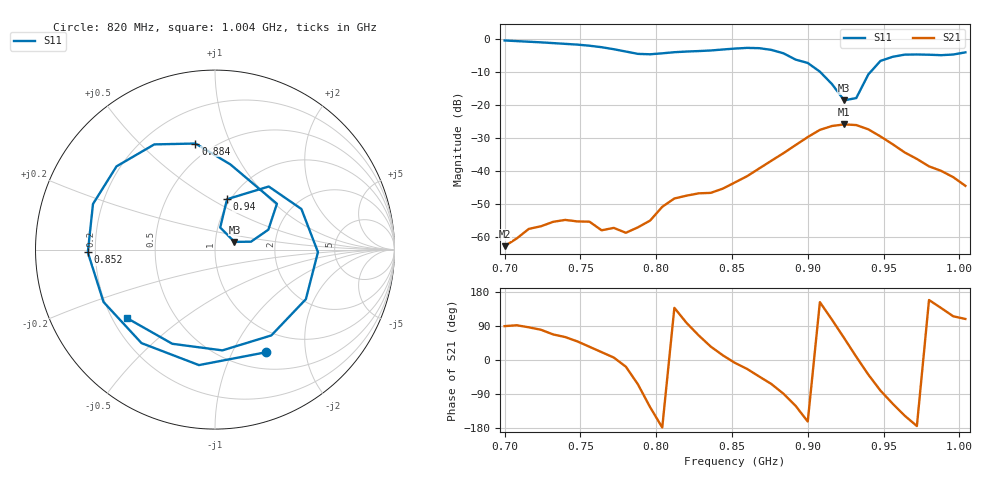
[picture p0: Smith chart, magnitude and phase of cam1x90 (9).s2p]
# Hz S RI R 50
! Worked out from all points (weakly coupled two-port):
!   39 points, 700 MHz to 1.004 GHz, reference 50 ohm
!   highest |S21| = -25.94 dB at 924 MHz (marker M1); lowest = -62.8 dB at 700 MHz (marker M2)
!   lowest |S11| = -18.7 dB at 924 MHz (marker M3), VSWR 1.26, Z = 61.9 + j5.39 ohm
!   |S11| at or under -10 dB: 908 MHz to 941.5 MHz (33.5 MHz wide, 3.62 % of centre)
!   S12 and S22 are empty: the file has one direction only
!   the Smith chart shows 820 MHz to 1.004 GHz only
!   S11 on the Smith chart (normalised r, x): 820 MHz: 0.71, -1.36; 852 MHz: 0.17, -0.01; 884 MHz: 0.40, +0.75; 940 MHz: 0.97, +0.59; 1.004 GHz: 0.26, -0.32
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7e8  0.759 0.5545  8.34e-06 0.000726  0 0  0 0
7.24e8  0.8456 -0.2423  0.000258 0.00143  0 0  0 0
7.4e8  0.457 -0.6987  0.000892 0.00158  0 0  0 0
7.56e8  -0.1916 -0.7589  0.0014 0.000975  0 0  0 0
7.72e8  -0.6638 -0.1991  0.00136 0.000156  0 0  0 0
7.8e8  -0.5989 0.2216  0.0011 -0.00035  0 0  0 0
7.88e8  -0.2523 0.532  0.000603 -0.00126  0 0  0 0
7.96e8  0.2334 0.5321  -0.001 -0.00146  0 0  0 0
8.04e8  0.5696 0.1894  -0.00286 -9.13e-05  0 0  0 0
8.2e8  0.2847 -0.5719  -0.000589 0.00417  0 0  0 0
8.36e8  -0.4094 -0.521  0.00379 0.00269  0 0  0 0
8.52e8  -0.7086 -0.0155  0.00663 -0.000897  0 0  0 0
8.68e8  -0.5487 0.4638  0.00788 -0.00752  0 0  0 0
8.84e8  -0.1088 0.591  0.000297 -0.0185  0 0  0 0
9e8  0.3451 0.2553  -0.0309 -0.00983  0 0  0 0
9.08e8  0.2971 0.1108  -0.0371 0.0192  0 0  0 0
9.24e8  0.1086 0.0429  0.0268 0.0427  0 0  0 0
9.32e8  0.029 0.123  0.0488 0.00734  0 0  0 0
9.4e8  0.0671 0.2808  0.0331 -0.0266  0 0  0 0
9.56e8  0.4815 0.2261  -0.0108 -0.0229  0 0  0 0
9.8e8  0.3138 -0.4782  -0.0109 0.00431  0 0  0 0
1.004e9  -0.4895 -0.3822  -0.00187 0.00564  0 0  0 0
